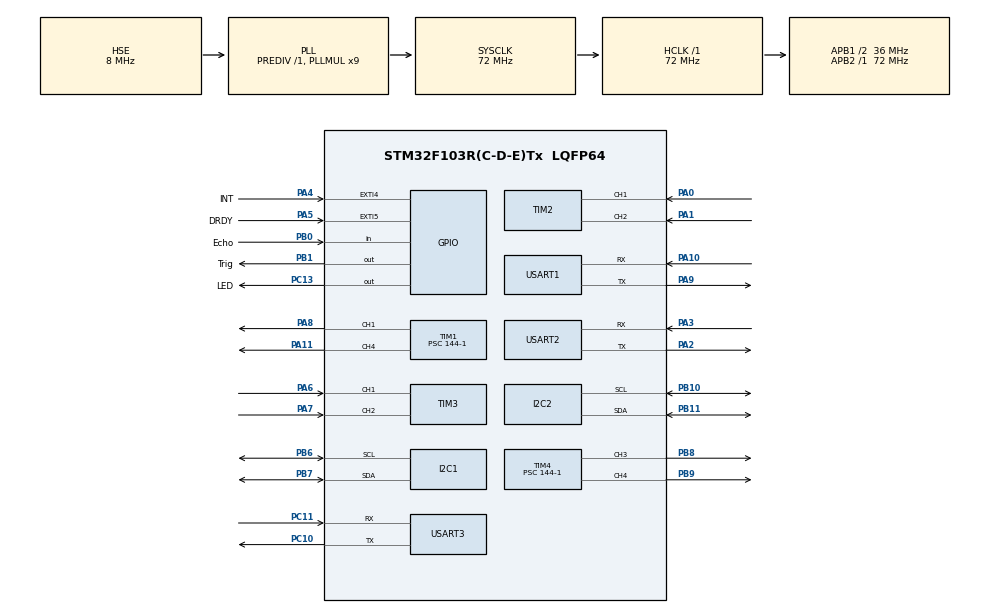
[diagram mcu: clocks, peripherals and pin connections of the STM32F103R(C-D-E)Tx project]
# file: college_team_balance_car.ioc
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FREERTOS.INCLUDE_vTaskDelayUntil=1
FREERTOS.INCLUDE_xTaskGetHandle=1
FREERTOS.Tasks01=defaultTask,-2,128,StartDefaultTask,Default,NULL,Dynamic,NULL,NULL
FREERTOS.configLIBRARY_MAX_SYSCALL_INTERRUPT_PRIORITY=5
FREERTOS.configTICK_RATE_HZ=1000
FREERTOS.configTOTAL_HEAP_SIZE=10000
I2C1.I2C_Mode=I2C_Standard
I2C2.I2C_Mode=I2C_Standard
Mcu.Family=STM32F1
Mcu.Name=STM32F103R(C-D-E)Tx
Mcu.Package=LQFP64
NVIC.PriorityGroup=NVIC_PRIORITYGROUP_4
NVIC.TIM2_IRQn=true\:5\:0\:false\:false\:true\:true\:true\:true
NVIC.TIM3_IRQn=true\:5\:0\:false\:false\:true\:true\:true\:true
NVIC.TIM8_UP_IRQn=true\:0\:0\:false\:false\:true\:false\:false\:true
NVIC.TimeBase=TIM8_UP_IRQn
NVIC.TimeBaseIP=TIM8
NVIC.USART3_IRQn=true\:5\:0\:false\:false\:true\:true\:true\:true
PA0-WKUP.Signal=S_TIM2_CH1_ETR
PA1.Signal=S_TIM2_CH2
PA10.Mode=Asynchronous
PA10.Signal=USART1_RX
PA11.Signal=S_TIM1_CH4
PA13.Mode=Serial_Wire
PA13.Signal=SYS_JTMS-SWDIO
PA14.Mode=Serial_Wire
PA14.Signal=SYS_JTCK-SWCLK
PA2.Mode=Asynchronous
PA2.Signal=USART2_TX
PA3.Mode=Asynchronous
PA3.Signal=USART2_RX
PA4.GPIO_Label=INT
PA4.Signal=GPXTI4
PA5.GPIO_Label=DRDY
PA5.Signal=GPXTI5
PA6.Signal=S_TIM3_CH1
PA7.Signal=S_TIM3_CH2
PA8.Signal=S_TIM1_CH1
PA9.Mode=Asynchronous
PA9.Signal=USART1_TX
PB0.GPIO_Label=Echo
PB0.Signal=GPIO_Input
PB1.GPIO_Label=Trig
PB1.Signal=GPIO_Output
PB10.Mode=I2C
PB10.Signal=I2C2_SCL
PB11.Mode=I2C
PB11.Signal=I2C2_SDA
PB6.Mode=I2C
PB6.Signal=I2C1_SCL
PB7.Mode=I2C
PB7.Signal=I2C1_SDA
PB8.Signal=S_TIM4_CH3
PB9.Signal=S_TIM4_CH4
PC10.Mode=Asynchronous
PC10.Signal=USART3_TX
PC11.Mode=Asynchronous
PC11.Signal=USART3_RX
PC13-TAMPER-RTC.GPIO_Label=LED
PC13-TAMPER-RTC.Signal=GPIO_Output
PD0-OSC_IN.Mode=HSE-External-Oscillator
PD0-OSC_IN.Signal=RCC_OSC_IN
PD1-OSC_OUT.Mode=HSE-External-Oscillator
PD1-OSC_OUT.Signal=RCC_OSC_OUT
ProjectManager.HeapSize=0x200
ProjectManager.StackSize=0x400
ProjectManager.TargetToolchain=SW4STM32
RCC.AHBFreq_Value=72000000
RCC.APB1CLKDivider=RCC_HCLK_DIV2
RCC.APB1Freq_Value=36000000
RCC.APB1TimFreq_Value=72000000
RCC.APB2Freq_Value=72000000
RCC.APB2TimFreq_Value=72000000
RCC.HCLKFreq_Value=72000000
RCC.PLLMUL=RCC_PLL_MUL9
RCC.PLLSourceVirtual=RCC_PLLSOURCE_HSE
RCC.SYSCLKFreq_VALUE=72000000
RCC.SYSCLKSource=RCC_SYSCLKSOURCE_PLLCLK
RCC.USBFreq_Value=72000000
SH.S_TIM1_CH1.0=TIM1_CH1,PWM Generation1 CH1
SH.S_TIM1_CH4.0=TIM1_CH4,PWM Generation4 CH4
SH.S_TIM2_CH1_ETR.0=TIM2_CH1,Encoder_Interface
SH.S_TIM2_CH2.0=TIM2_CH2,Encoder_Interface
SH.S_TIM3_CH1.0=TIM3_CH1,Encoder_Interface
SH.S_TIM3_CH2.0=TIM3_CH2,Encoder_Interface
SH.S_TIM4_CH3.0=TIM4_CH3,PWM Generation3 CH3
SH.S_TIM4_CH4.0=TIM4_CH4,PWM Generation4 CH4
TIM1.Channel-PWM\ Generation1\ CH1=TIM_CHANNEL_1
TIM1.Channel-PWM\ Generation4\ CH4=TIM_CHANNEL_4
TIM1.Period=1000-1
TIM1.Prescaler=144-1
TIM2.EncoderMode=TIM_ENCODERMODE_TI12
TIM3.EncoderMode=TIM_ENCODERMODE_TI12
TIM4.AutoReloadPreload=TIM_AUTORELOAD_PRELOAD_ENABLE
TIM4.Channel-PWM\ Generation3\ CH3=TIM_CHANNEL_3
TIM4.Channel-PWM\ Generation4\ CH4=TIM_CHANNEL_4
TIM4.Period=1000-1
TIM4.Prescaler=144-1
TIM4.Pulse-PWM\ Generation3\ CH3=500
TIM4.Pulse-PWM\ Generation4\ CH4=500
USART1.VirtualMode=VM_ASYNC
USART2.VirtualMode=VM_ASYNC
USART3.VirtualMode=VM_ASYNC
VP_FREERTOS_VS_CMSIS_V1.Mode=CMSIS_V1
VP_SYS_VS_tim8.Mode=TIM8
board=custom

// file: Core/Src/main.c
/* USER CODE BEGIN Header */
/**
  ******************************************************************************
  * @file           : main.c
  * @brief          : Main program body
  ******************************************************************************
  * @attention
  *
  * <h2><center>&copy; Copyright (c) 2022 STMicroelectronics.
  * All rights reserved.</center></h2>
  *
  * This software component is licensed by ST under BSD 3-Clause license,
  * the "License"; You may not use this file except in compliance with the
  * License. You may obtain a copy of the License at:
  *                        opensource.org/licenses/BSD-3-Clause
  *
  ******************************************************************************
  */
/* USER CODE END Header */
#include "main.h"
#include "cmsis_os.h"
#include "i2c.h"
#include "tim.h"
#include "usart.h"
#include "gpio.h"

/* USER CODE BEGIN Includes */
#include "retarget.h"
#include "motor.h"
#include "encoder.h"
#include "mpu6050.h"
#include "uart_parser.h"
#include "pid.h"
#include <stdio.h>
/* USER CODE END Includes */

/* USER CODE BEGIN PV */
extern double target_speed;
extern double target_position;
extern double target_angular_speed;
char pause_state = 0;
char control_mode = 0; // 0 = speed control(default)    1 = position control
extern int16_t now_position;
/* USER CODE END PV */

void SystemClock_Config(void);

void MX_FREERTOS_Init(void);

/* USER CODE BEGIN PFP */
void change_control_val(char *cmd);

void change_angular_speed(char *cmd);

void change_P(char *cmd);

void change_I(char *cmd);

void change_D(char *cmd);

void change_P2(char *cmd);

void change_P3(char *cmd);

void change_target_degree(char *cmd);

void pause(char *cmd);

void resume(char *cmd);

void change_mode(char *cmd); // switch speed control and position control

void move_cm(char *cmd); // move forward or backward in cm
/* USER CODE END PFP */

int main(void) {

    /* MCU Configuration--------------------------------------------------------*/

    /* Reset of all peripherals, Initializes the Flash interface and the Systick. */
    HAL_Init();

    /* USER CODE BEGIN Init */
    HAL_Delay(1000);
    /* USER CODE END Init */

    /* Configure the system clock */
    SystemClock_Config();

    /* Initialize all configured peripherals */
    MX_GPIO_Init();
    MX_I2C1_Init();
    MX_I2C2_Init();
    MX_USART1_UART_Init();
    MX_USART2_UART_Init();
    MX_USART3_UART_Init();
    MX_TIM1_Init();
    MX_TIM2_Init();
    MX_TIM3_Init();
    MX_TIM4_Init();
    /* USER CODE BEGIN 2 */
    RetargetInit(&huart3);
    motor_init();
    encoder_init();
    MPU6050_Init(&hi2c2);
    pid_init();

    uart_parser_init(&huart3);
    uart_parser_add_command('S', change_control_val, "change control value");
    uart_parser_add_command('R', change_angular_speed, "change angular speed");
    uart_parser_add_command('P', change_P, "change P");
    uart_parser_add_command('I', change_I, "change I");
    uart_parser_add_command('D', change_D, "change D");
    uart_parser_add_command('C', change_P2, "change P2");
    uart_parser_add_command('E', change_P3, "change P3");
    uart_parser_add_command('A', pause, "pause");
    uart_parser_add_command('B', resume, "resume");
    uart_parser_add_command('F', change_target_degree, "change target degree");
    uart_parser_add_command('G', change_mode, "change mode"); // switch speed mode and position mode
    uart_parser_add_command('H', move_cm, "move cm"); // move forward or backward in cm

    /* USER CODE END 2 */

    /* Call init function for freertos objects (in freertos.c) */
    MX_FREERTOS_Init();
    /* Start scheduler */
    osKernelStart();

    /* We should never get here as control is now taken by the scheduler */
    /* Infinite loop */
    while (1) {

    }
}

void SystemClock_Config(void) {
    RCC_OscInitTypeDef RCC_OscInitStruct = {0};
    RCC_ClkInitTypeDef RCC_ClkInitStruct = {0};

    /** Initializes the RCC Oscillators according to the specified parameters
    * in the RCC_OscInitTypeDef structure.
    */
    RCC_OscInitStruct.OscillatorType = RCC_OSCILLATORTYPE_HSE;
    RCC_OscInitStruct.HSEState = RCC_HSE_ON;
    RCC_OscInitStruct.HSEPredivValue = RCC_HSE_PREDIV_DIV1;
    RCC_OscInitStruct.HSIState = RCC_HSI_ON;
    RCC_OscInitStruct.PLL.PLLState = RCC_PLL_ON;
    RCC_OscInitStruct.PLL.PLLSource = RCC_PLLSOURCE_HSE;
    RCC_OscInitStruct.PLL.PLLMUL = RCC_PLL_MUL9;
    if (HAL_RCC_OscConfig(&RCC_OscInitStruct) != HAL_OK) {
        Error_Handler();
    }
    /** Initializes the CPU, AHB and APB buses clocks
    */
    RCC_ClkInitStruct.ClockType = RCC_CLOCKTYPE_HCLK | RCC_CLOCKTYPE_SYSCLK
                                  | RCC_CLOCKTYPE_PCLK1 | RCC_CLOCKTYPE_PCLK2;
    RCC_ClkInitStruct.SYSCLKSource = RCC_SYSCLKSOURCE_PLLCLK;
    RCC_ClkInitStruct.AHBCLKDivider = RCC_SYSCLK_DIV1;
    RCC_ClkInitStruct.APB1CLKDivider = RCC_HCLK_DIV2;
    RCC_ClkInitStruct.APB2CLKDivider = RCC_HCLK_DIV1;

    if (HAL_RCC_ClockConfig(&RCC_ClkInitStruct, FLASH_LATENCY_2) != HAL_OK) {
        Error_Handler();
    }
}

/* USER CODE BEGIN 4 */
void change_control_val(char *cmd) {
    if (control_mode == 0) { // speed mode
        uart_parser_scalar(&target_speed, cmd);
    } else if (control_mode == 1) { // position mode
        uart_parser_scalar(&target_position, cmd);
    }

}

void change_angular_speed(char *cmd) {
    uart_parser_scalar(&target_angular_speed, cmd);
}

void change_P(char *cmd) {
    uart_parser_scalar(&pid_stand.Kp, cmd);

}

void change_I(char *cmd) {

}

void change_D(char *cmd) {
    uart_parser_scalar(&pid_stand.Kd, cmd);
}

void change_P2(char *cmd) {
    uart_parser_scalar(&pid_speed.Kp, cmd);
}

void change_P3(char *cmd) {
    uart_parser_scalar(&pid_spin.Kp, cmd);
}

void change_target_degree(char *cmd) {
    uart_parser_scalar(&target_degree, cmd);
}

void pause(char *cmd) {
    pause_state = 1;
}

extern TaskHandle_t BalanceTaskHandle;

void resume(char *cmd) {
    xTaskResumeFromISR(BalanceTaskHandle);
}

void change_mode(char *cmd) {
    if (control_mode == 1) {
        control_mode = 0; // speed control
        target_speed = 0;

        printf("Mode: speed control\n");
    } else if (control_mode == 0) {
        control_mode = 1; // position control
        now_position = 0;
        target_speed = 0;

        printf("Mode: position control\n");
    }
}

void move_cm(char *cmd) {
    /* Please wait until the action was finished. */
    now_position = 0;
    uart_parser_scalar(&target_position, cmd);
}
/* USER CODE END 4 */

void HAL_TIM_PeriodElapsedCallback(TIM_HandleTypeDef *htim) {
    if (htim->Instance == TIM8) {
        HAL_IncTick();
    }
}

void Error_Handler(void) {
    __disable_irq();
    while (1) {
    }
}

/************************ (C) COPYRIGHT STMicroelectronics *****END OF FILE****/

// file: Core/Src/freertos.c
/* USER CODE BEGIN Header */
/**
  ******************************************************************************
  * File Name          : freertos.c
  * Description        : Code for freertos applications
  ******************************************************************************
  * @attention
  *
  * <h2><center>&copy; Copyright (c) 2022 STMicroelectronics.
  * All rights reserved.</center></h2>
  *
  * This software component is licensed by ST under Ultimate Liberty license
  * SLA0044, the "License"; You may not use this file except in compliance with
  * the License. You may obtain a copy of the License at:
  *                             www.st.com/SLA0044
  *
  ******************************************************************************
  */
/* USER CODE END Header */

#include "FreeRTOS.h"
#include "task.h"
#include "main.h"
#include "cmsis_os.h"

/* USER CODE BEGIN Includes */
#include <stdio.h>
#include "motor.h"
#include "encoder.h"
#include "mpu6050.h"
#include "pid.h"
/* USER CODE END Includes */

/* USER CODE BEGIN Variables */
TaskHandle_t LedTaskHandle = NULL;
TaskHandle_t BalanceTaskHandle = NULL;

/* USER CODE END Variables */
osThreadId defaultTaskHandle;

/* USER CODE BEGIN FunctionPrototypes */
void LedTask(void *pvParameters);

void BalanceTask(void *pvParameters);

/* USER CODE END FunctionPrototypes */

void StartDefaultTask(void const * argument);

void MX_FREERTOS_Init(void); /* (MISRA C 2004 rule 8.1) */

/* GetIdleTaskMemory prototype (linked to static allocation support) */
void vApplicationGetIdleTaskMemory( StaticTask_t **ppxIdleTaskTCBBuffer, StackType_t **ppxIdleTaskStackBuffer, uint32_t *pulIdleTaskStackSize );

/* USER CODE BEGIN GET_IDLE_TASK_MEMORY */
static StaticTask_t xIdleTaskTCBBuffer;
static StackType_t xIdleStack[configMINIMAL_STACK_SIZE];

void vApplicationGetIdleTaskMemory(StaticTask_t **ppxIdleTaskTCBBuffer, StackType_t **ppxIdleTaskStackBuffer,
                                   uint32_t *pulIdleTaskStackSize) {
    *ppxIdleTaskTCBBuffer = &xIdleTaskTCBBuffer;
    *ppxIdleTaskStackBuffer = &xIdleStack[0];
    *pulIdleTaskStackSize = configMINIMAL_STACK_SIZE;
    /* place for user code */
}
/* USER CODE END GET_IDLE_TASK_MEMORY */

void MX_FREERTOS_Init(void) {
  /* USER CODE BEGIN Init */

    xTaskCreate(LedTask, "LedTask", 128, NULL, 1, &LedTaskHandle);

    xTaskCreate(BalanceTask, "BalanceTask", 1024, NULL, 6, &BalanceTaskHandle);
  /* USER CODE END Init */

  /* Create the thread(s) */
  /* definition and creation of defaultTask */
  osThreadDef(defaultTask, StartDefaultTask, osPriorityLow, 0, 128);
  defaultTaskHandle = osThreadCreate(osThread(defaultTask), NULL);

}

void StartDefaultTask(void const * argument)
{
  /* USER CODE BEGIN StartDefaultTask */
    /* Infinite loop */
    for (;;) {
//        static int16_t value = -100;
//        if (value > 100) value = -100;
//        motor1_set_value(value);
//        motor2_set_value(value);
//        value++;

//        motor1_set_value(100);
//        motor2_set_value(100);
        osDelay(100);
    }
  /* USER CODE END StartDefaultTask */
}

/* USER CODE BEGIN Application */
extern char pause_state;
extern char control_mode;

void LedTask(void *pvParameters) {
    while (1) {
        HAL_GPIO_TogglePin(LED_GPIO_Port, LED_Pin);
        if (pause_state==1){ // change frequency to indicate the pausing state
            vTaskDelay(pdMS_TO_TICKS(100));
        }else {
            if(control_mode == 0){ // speed control
                vTaskDelay(pdMS_TO_TICKS(500));
            }else{ // position control
                vTaskDelay(pdMS_TO_TICKS(1000));
            }
        }
    }
}

void BalanceTask(void *pvParameters) {
    TickType_t xLastWakeTime;
    xLastWakeTime = xTaskGetTickCount();

    while (1) {
        if (pause_state == 1) { // pause the task
            motor1_set_value(0);
            motor2_set_value(0);
            motor_deinit();
            vTaskSuspend(NULL);
            pause_state = 0;
            motor_init();
        }

        encoder_callback();
        pid_compute();
        vTaskDelayUntil(&xLastWakeTime, pdMS_TO_TICKS(5));
    }
}
/* USER CODE END Application */

/************************ (C) COPYRIGHT STMicroelectronics *****END OF FILE****/
